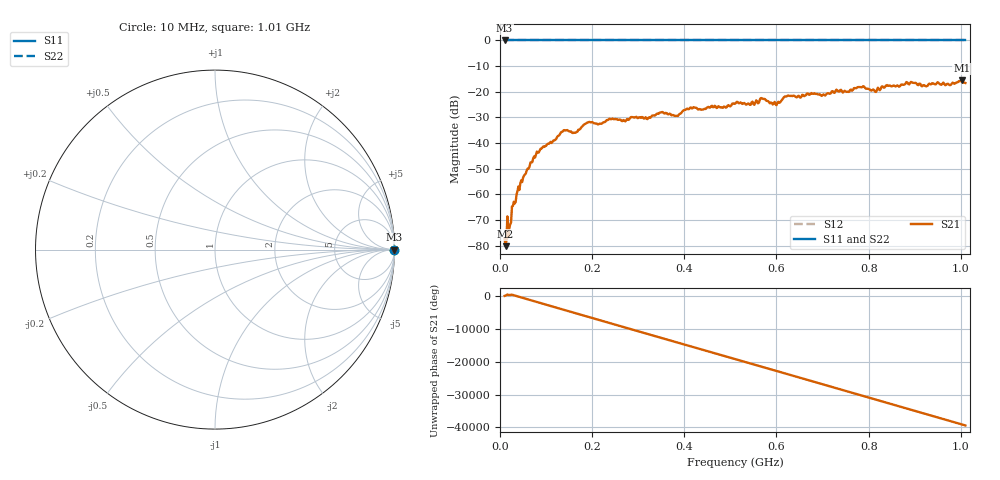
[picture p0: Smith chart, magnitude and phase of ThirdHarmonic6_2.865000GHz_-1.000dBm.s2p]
! 8/17/2025 7:48:52 AM
! C:\ANRITSUVNA\TEMP\TEMP.S2P
! CHANNEL.1
! TR.MEASUREMENT
! RAW.DATA
! RF.CORRECTION.OFF
! AVERAGING.OFF
! IF.BANDWIDTH: 5KHZ
! SWEEPTYPE:  FREQ.SWEEP(Linear)
! Reference Plane Port Info
! PORT:  PORT1  PORT2
! DISTANCE:  0  m  0  m
! TIME:  0  s  0  s
! PHASE.OFFSET:  0  deg.  0  deg.
! LOSS:  0  dB  0  dB
! REF.LOSS:  0  dB  0  dB
! REF.FREQ:  0  Hz  0  Hz
! Power Info
! POWER:  -20  dBm  -20  dBm
! EFF.POWER:  -20  dBm  -20  dBm
! SOURCE.ATTEN:  0  dB  0  dB
! TEST.ATTEN:  0  dB  0  dB
# GHZ S RI R 50.0
! FREQ.GHZ  S11RE  S11IM  S21RE  S21IM  S12RE  S12IM  S22RE  S22IM
!; PortSelection: Port_12
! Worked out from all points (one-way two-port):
!   501 points, 10 MHz to 1.01 GHz, reference 50 ohm
!   highest |S21| = -15.50 dB at 1.002 GHz (marker M1); lowest = -80.2 dB at 12 MHz (marker M2)
!   lowest |S11| = 0.0 dB at 10 MHz (marker M3)
!   |S11| at or under -10 dB: nowhere
!   |S22| runs from 0.0 to 0.0 dB; largest |S21 - S12| = 1.2
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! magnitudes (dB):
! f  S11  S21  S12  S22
! 10 MHz  0.0  -77.0  0.0  0.0
! 12 MHz  0.0  -80.2  0.0  0.0
! 22 MHz  0.0  -71.7  0.0  0.0
! 30 MHz  0.0  -62.8  0.0  0.0
! 42 MHz  0.0  -58.3  0.0  0.0
! 76 MHz  0.0  -45.6  0.0  0.0
! 136 MHz  0.0  -35.5  0.0  0.0
! 162 MHz  0.0  -36.0  0.0  0.0
! 178 MHz  0.0  -33.6  0.0  0.0
! 344 MHz  0.0  -28.6  0.0  0.0
! 382 MHz  0.0  -29.3  0.0  0.0
! 416 MHz  0.0  -26.5  0.0  0.0
! 510 MHz  0.0  -24.7  0.0  0.0
! 570 MHz  0.0  -22.7  0.0  0.0
! 596 MHz  0.0  -23.9  0.0  0.0
! 622 MHz  0.0  -21.8  0.0  0.0
! 678 MHz  0.0  -20.7  0.0  0.0
! 786 MHz  0.0  -18.2  0.0  0.0
! 814 MHz  0.0  -19.9  0.0  0.0
! 844 MHz  0.0  -17.6  0.0  0.0
! 1.002 GHz  0.0  -15.5  0.0  0.0
! 1.01 GHz  0.0  -16.6  0.0  0.0
